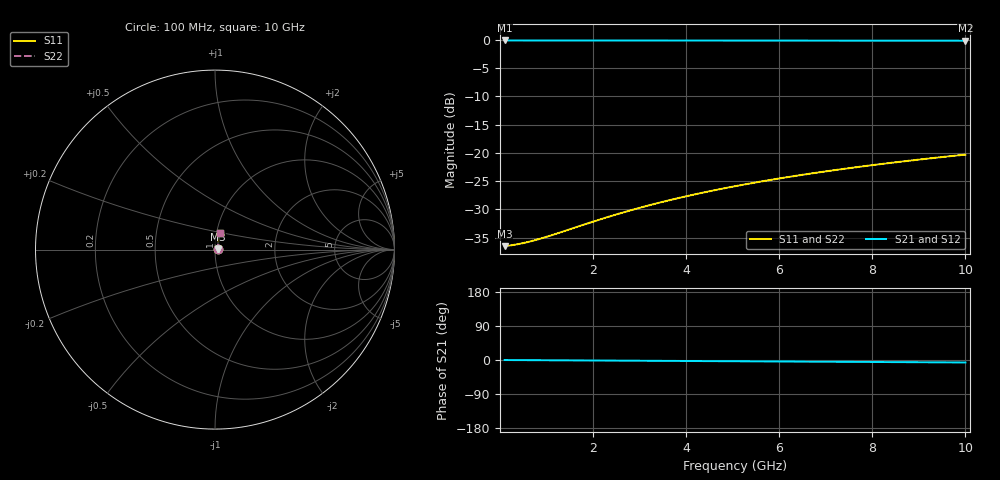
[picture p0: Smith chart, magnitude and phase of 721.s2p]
# Hz S RI R 50.00
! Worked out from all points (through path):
!   100 points, 100 MHz to 10 GHz, reference 50 ohm
!   highest |S21| = -0.13 dB at 100 MHz (marker M1); lowest = -0.2 dB at 10 GHz (marker M2)
!   lowest |S11| = -36.5 dB at 100 MHz (marker M3), VSWR 1.03, Z = 51.5 + j0.0967 ohm
!   |S11| at or under -10 dB: start of sweep to end of sweep
!   |S22| runs from -36.5 to -20.3 dB; largest |S21 - S12| = 0
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1e8  0.015 0.000938  0.985 -0.00112  0.985 -0.00112  0.015 0.000938
3e8  0.0151 0.00281  0.9849 -0.00337  0.9849 -0.00337  0.0151 0.00281
4e8  0.0152 0.00375  0.9848 -0.00449  0.9848 -0.00449  0.0152 0.00375
5e8  0.0153 0.00469  0.9847 -0.00561  0.9847 -0.00561  0.0153 0.00469
7e8  0.0154 0.00656  0.9846 -0.00786  0.9846 -0.00786  0.0154 0.00656
9e8  0.0155 0.00844  0.9845 -0.0101  0.9845 -0.0101  0.0155 0.00844
1.1e9  0.0156 0.0103  0.9844 -0.0123  0.9844 -0.0123  0.0156 0.0103
1.8e9  0.0159 0.0169  0.9841 -0.0202  0.9841 -0.0202  0.0159 0.0169
2.2e9  0.0162 0.0206  0.9838 -0.0247  0.9838 -0.0247  0.0162 0.0206
2.6e9  0.0164 0.0243  0.9836 -0.0292  0.9836 -0.0292  0.0164 0.0243
3e9  0.0167 0.0281  0.9833 -0.0336  0.9833 -0.0336  0.0167 0.0281
3.4e9  0.017 0.0318  0.9829 -0.0381  0.9829 -0.0381  0.017 0.0318
3.8e9  0.0174 0.0355  0.9826 -0.0426  0.9826 -0.0426  0.0174 0.0355
4.2e9  0.0178 0.0393  0.9822 -0.047  0.9822 -0.047  0.0178 0.0393
4.6e9  0.0182 0.043  0.9818 -0.0515  0.9818 -0.0515  0.0182 0.043
5.1e9  0.0187 0.0476  0.9812 -0.0571  0.9812 -0.0571  0.0187 0.0476
5.9e9  0.0197 0.0551  0.9802 -0.066  0.9802 -0.066  0.0197 0.0551
6.7e9  0.0209 0.0625  0.979 -0.0749  0.979 -0.0749  0.0209 0.0625
7.5e9  0.0221 0.0698  0.9778 -0.0837  0.9778 -0.0837  0.0221 0.0698
8.4e9  0.0237 0.0781  0.9762 -0.0937  0.9762 -0.0937  0.0237 0.0781
9.2e9  0.0253 0.0854  0.9746 -0.1025  0.9746 -0.1025  0.0253 0.0854
1e10  0.0269 0.0927  0.9729 -0.1113  0.9729 -0.1113  0.0269 0.0927
